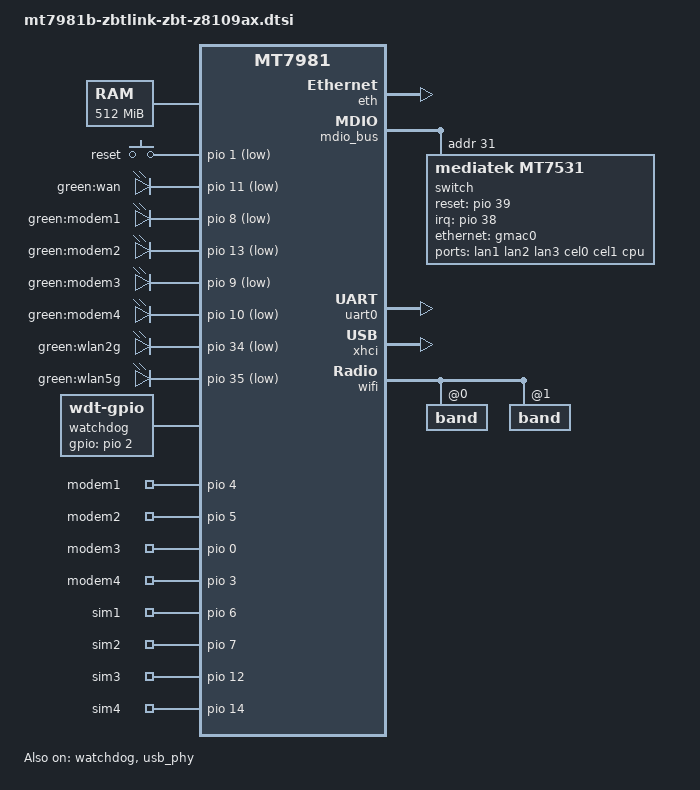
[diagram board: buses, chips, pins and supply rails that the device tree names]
// SPDX-License-Identifier: GPL-2.0-or-later OR MIT

/dts-v1/;

#include "mt7981.dtsi"

/ {
	compatible = "zbtlink,zbt-z8109ax", "mediatek,mt7981";

	aliases {
		serial0 = &uart0;
		led-boot = &led_status;
		led-failsafe = &led_status;
		led-running = &led_status;
		led-upgrade = &led_status;
		label-mac-device = &gmac0;
	};

	memory {
		reg = <0 0x40000000 0 0x20000000>;
	};

	gpio-keys {
		compatible = "gpio-keys";

		button-reset {
			label = "reset";
			linux,code = <KEY_RESTART>;
			gpios = <&pio 1 GPIO_ACTIVE_LOW>;
		};

	};

	leds {
		compatible = "gpio-leds";

		led_status: wan {
			label = "green:wan";
			gpios = <&pio 11 GPIO_ACTIVE_LOW>;
		};

		modem1 {
			label = "green:modem1";
			gpios = <&pio 8 GPIO_ACTIVE_LOW>;
			
		};

		modem2 {
			label = "green:modem2";
			gpios = <&pio 13 GPIO_ACTIVE_LOW>;
		};

		modem3 {
			label = "green:modem3";
			gpios = <&pio 9 GPIO_ACTIVE_LOW>;
		};

		modem4 {
			label = "green:modem4";
			gpios = <&pio 10 GPIO_ACTIVE_LOW>;
		};

		wlan2g {
			label = "green:wlan2g";
			gpios = <&pio 34 GPIO_ACTIVE_LOW>;
			linux,default-trigger = "phy0tpt";
		};

		wlan5g {
			label = "green:wlan5g";
			gpios = <&pio 35 GPIO_ACTIVE_LOW>;
			linux,default-trigger = "phy1tpt";
		};
	};

	watchdog {
		compatible = "linux,wdt-gpio";
		gpios = <&pio 2 GPIO_ACTIVE_HIGH>;
		hw_algo = "toggle";
		hw_margin_ms = <1000>;
	};

	gpio-export {
		compatible = "gpio-export";
		#size-cells = <0>;

		modem1 {
			gpio-export,name = "modem1";
			gpio-export,output = <1>;
			gpios = <&pio 4 GPIO_ACTIVE_HIGH>;
		};

		modem2 {
			gpio-export,name = "modem2";
			gpio-export,output = <1>;
			gpios = <&pio 5 GPIO_ACTIVE_HIGH>;
		};

		modem3 {
			gpio-export,name = "modem3";
			gpio-export,output = <1>;
			gpios = <&pio 0 GPIO_ACTIVE_HIGH>;
		};

		modem4 {
			gpio-export,name = "modem4";
			gpio-export,output = <1>;
			gpios = <&pio 3 GPIO_ACTIVE_HIGH>;
		};

		sim1 {
			gpio-export,name = "sim1";
			gpio-export,output = <0>;
			gpios = <&pio 6 GPIO_ACTIVE_HIGH>;
		};

		sim2 {
			gpio-export,name = "sim2";
			gpio-export,output = <0>;
			gpios = <&pio 7 GPIO_ACTIVE_HIGH>;
		};

		sim3 {
			gpio-export,name = "sim3";
			gpio-export,output = <0>;
			gpios = <&pio 12 GPIO_ACTIVE_HIGH>;
		};

		sim4 {
			gpio-export,name = "sim4";
			gpio-export,output = <0>;
			gpios = <&pio 14 GPIO_ACTIVE_HIGH>;
		};
	};
};

&eth {
	status = "okay";

	gmac0: mac@0 {
		/* LAN  MT7531*/
		compatible = "mediatek,eth-mac";
		reg = <0>;
		phy-mode = "2500base-x";

		nvmem-cell-names = "mac-address";
		nvmem-cells = <&macaddr_factory_4>;

		fixed-link {
			speed = <2500>;
			full-duplex;
			pause;
		};
	};

	gmac1: mac@1 {
		/* WAN */
		compatible = "mediatek,eth-mac";
		reg = <1>;
		phy-mode = "gmii";
		phy-handle = <&int_gbe_phy>;

		nvmem-cell-names = "mac-address";
		nvmem-cells = <&macaddr_factory_a>;
	};
};

&mdio_bus {
	switch: switch@1f {
		compatible = "mediatek,mt7531";
		reg = <31>;
		reset-gpios = <&pio 39 GPIO_ACTIVE_HIGH>;
		interrupt-controller;
		#interrupt-cells = <1>;
		interrupt-parent = <&pio>;
		interrupts = <38 IRQ_TYPE_LEVEL_HIGH>;
	};
};

&switch {
	ports {
		#address-cells = <1>;
		#size-cells = <0>;

		port@0 {
			reg = <0>;
			label = "lan1";
		};

		port@1 {
			reg = <1>;
			label = "lan2";
		};

		port@2 {
			reg = <2>;
			label = "lan3";
		};
		
		/* to RTL8125 5G1 */
		port@3 {
			reg = <3>;
			label = "cel0";
		};

		/* to RTL8125 5G2 */
		port@4 {
			reg = <4>;
			label = "cel1";
		};

		/* to CPU */
		port@6 {
			reg = <6>;
			label = "cpu";
			ethernet = <&gmac0>;
			phy-mode = "2500base-x";

			fixed-link {
				speed = <2500>;
				full-duplex;
				pause;
			};
		};
	};
};

&uart0 {
	status = "okay";
};

&watchdog {
	status = "okay";
};

&usb_phy {
	status = "okay";
};

&xhci {
	status = "okay";
};

&wifi {
	status = "okay";

	nvmem-cells = <&eeprom_factory>;
	nvmem-cell-names = "eeprom";

	band@0 {
		reg = <0>;
		nvmem-cells = <&macaddr_factory_24>;
		nvmem-cell-names = "mac-address";
	};

	band@1 {
		reg = <1>;
		nvmem-cells = <&macaddr_factory_2a>;
		nvmem-cell-names = "mac-address";
	};
};
